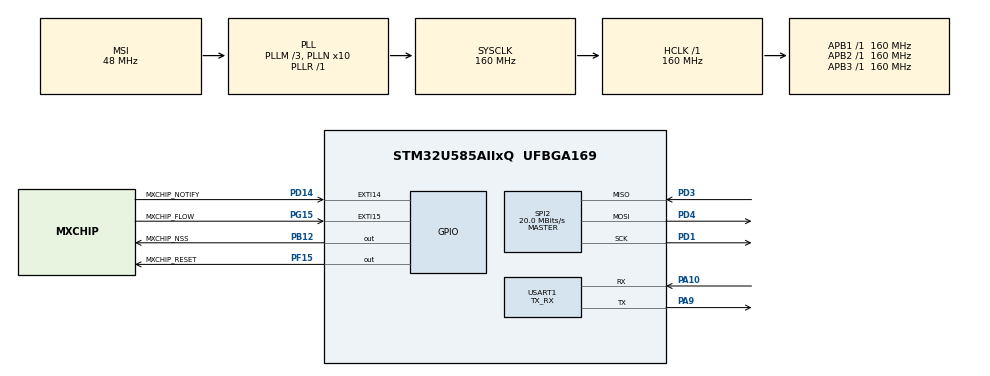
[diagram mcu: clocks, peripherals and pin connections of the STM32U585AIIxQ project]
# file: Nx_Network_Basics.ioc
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CORTEX_M33_NS.userName=CORTEX_M33
GPDMA1.DESTINC_GPDMACH4=DMA_DINC_INCREMENTED
GPDMA1.DIRECTION_GPDMACH5=DMA_MEMORY_TO_PERIPH
GPDMA1.IPHANDLE_GPDMACH4-SIMPLEREQUEST_GPDMACH4=__NULL
GPDMA1.IPHANDLE_GPDMACH5-SIMPLEREQUEST_GPDMACH5=__NULL
GPDMA1.PRIORITY_GPDMACH4=DMA_LOW_PRIORITY_HIGH_WEIGHT
GPDMA1.PRIORITY_GPDMACH5=DMA_LOW_PRIORITY_HIGH_WEIGHT
GPDMA1.REQUEST_GPDMACH4=GPDMA1_REQUEST_SPI2_RX
GPDMA1.REQUEST_GPDMACH5=GPDMA1_REQUEST_SPI2_TX
GPDMA1.SRCINC_GPDMACH5=DMA_SINC_INCREMENTED
GPDMA1.TRANSFERALLOCATEDPORTDEST_GPDMACH4=DMA_DEST_ALLOCATED_PORT1
GPDMA1.TRANSFERALLOCATEDPORTDEST_GPDMACH5=DMA_DEST_ALLOCATED_PORT1
GPDMA1.TRANSFERALLOCATEDPORTSRC_GPDMACH4=DMA_SRC_ALLOCATED_PORT0
GPDMA1.TRANSFERALLOCATEDPORTSRC_GPDMACH5=DMA_SRC_ALLOCATED_PORT0
Mcu.Family=STM32U5
Mcu.Name=STM32U585AIIxQ
Mcu.Package=UFBGA169
NETXDUO.NX_APP_MEM_POOL_SIZE=(160 * 1024)
NETXDUO.NX_DHCP_THREAD_PRIORITY=(NETX_IP_THREAD_PRIORITY + 1)
NETXDUO.NX_DISABLE_LOOPBACK_INTERFACE=true
NETXDUO.NX_DNS_CACHE_ENABLE=false
NETXDUO.NX_DNS_IP_GATEWAY_AND_DNS_SERVER=true
NETXDUO.NX_DRIVER_DEFERRED_PROCESSING=true
NETXDUO.NX_ENABLE_EXTENDED_NOTIFY_SUPPORT=true
NETXDUO.NX_ENABLE_IP_RAW_PACKET_FILTER=true
NETXDUO.NX_IP_FAST_TIMER_RATE=10
NETXDUO.NX_IP_PERIODIC_RATE=1000
NETXDUO.NX_PHYSICAL_HEADER=44
NETXDUO.NX_TCP_FAST_TIMER_RATE=10
NETXDUO.NX_TCP_IMMEDIATE_ACK=true
NVIC.EXTI14_IRQn=true\:2\:0\:true\:false\:true\:false\:true\:true\:true
NVIC.EXTI15_IRQn=true\:2\:0\:true\:false\:true\:false\:true\:true\:true
NVIC.GPDMA1_Channel4_IRQn=true\:2\:0\:true\:false\:true\:true\:false\:true\:true
NVIC.GPDMA1_Channel5_IRQn=true\:2\:0\:true\:false\:true\:true\:false\:true\:true
NVIC.PriorityGroup=NVIC_PRIORITYGROUP_4
NVIC.SPI2_IRQn=true\:2\:0\:true\:false\:true\:false\:true\:true\:true
NVIC.TIM6_IRQn=true\:0\:0\:true\:false\:true\:false\:false\:true\:true
NVIC.TimeBase=TIM6_IRQn
NVIC.TimeBaseIP=TIM6
NVIC.USART1_IRQn=true\:3\:0\:true\:false\:true\:false\:true\:true\:true
PA10.Mode=Asynchronous
PA10.Signal=USART1_RX
PA13\ (JTMS/SWDIO).Mode=Trace_Asynchronous_SW
PA13\ (JTMS/SWDIO).Signal=DEBUG_JTMS-SWDIO
PA14\ (JTCK/SWCLK).Mode=Trace_Asynchronous_SW
PA14\ (JTCK/SWCLK).Signal=DEBUG_JTCK-SWCLK
PA9.Mode=Asynchronous
PA9.Signal=USART1_TX
PB12.GPIO_Label=MXCHIP_NSS
PB12.GPIO_Speed=GPIO_SPEED_FREQ_HIGH
PB12.PinState=GPIO_PIN_SET
PB12.Signal=GPIO_Output
PB3\ (JTDO/TRACESWO).Mode=Trace_Asynchronous_SW
PB3\ (JTDO/TRACESWO).Signal=DEBUG_JTDO-SWO
PD1.GPIO_Speed=GPIO_SPEED_FREQ_HIGH
PD1.Mode=Full_Duplex_Master
PD1.Signal=SPI2_SCK
PD14.GPIO_Label=MXCHIP_NOTIFY
PD14.Signal=GPXTI14
PD3.GPIO_Speed=GPIO_SPEED_FREQ_HIGH
PD3.Mode=Full_Duplex_Master
PD3.Signal=SPI2_MISO
PD4.GPIO_Speed=GPIO_SPEED_FREQ_HIGH
PD4.Mode=Full_Duplex_Master
PD4.Signal=SPI2_MOSI
PF15.GPIO_Label=MXCHIP_RESET
PF15.Signal=GPIO_Output
PG15.GPIO_Label=MXCHIP_FLOW
PG15.GPIO_ModeDefaultEXTI=GPIO_MODE_IT_RISING
PG15.Signal=GPXTI15
PWR.PowerMode=PWR_SMPS_SUPPLY
ProjectManager.HeapSize=0x2000
ProjectManager.StackSize=0x2000
ProjectManager.TargetToolchain=EWARM V8.50
RCC.ADCFreq_Value=16000000
RCC.AHBFreq_Value=160000000
RCC.APB1Freq_Value=160000000
RCC.APB1TimFreq_Value=160000000
RCC.APB2Freq_Value=160000000
RCC.APB2TimFreq_Value=160000000
RCC.APB3Freq_Value=160000000
RCC.CortexFreq_Value=160000000
RCC.DACCLockSelectionVirtual=RCC_DAC1CLKSOURCE_LSI
RCC.EPOD_VALUE=48000000
RCC.HCLKFreq_Value=160000000
RCC.HSE_VALUE=16000000
RCC.HSI48_VALUE=48000000
RCC.HSI_VALUE=16000000
RCC.LSE_VALUE=32768
RCC.LSIDIV_VALUE=32000
RCC.MSIClockRange=RCC_MSIRANGE_0
RCC.MSI_VALUE=48000000
RCC.PLL1R=1
RCC.PLLFRACN=0
RCC.PLLM=3
RCC.PLLN=10
RCC.SPI2CLockSelection=RCC_SPI2CLKSOURCE_PCLK1
RCC.SYSCLKFreq_VALUE=160000000
RCC.SYSCLKSource=RCC_SYSCLKSOURCE_PLLCLK
RCC.USBFreq_Value=48000000
RCC.VCOOutputFreq_Value=160000000
SPI2.BaudRatePrescaler=SPI_BAUDRATEPRESCALER_8
SPI2.CRCCalculation=SPI_CRCCALCULATION_DISABLE
SPI2.CalculateBaudRate=20.0 MBits/s
SPI2.DataSize=SPI_DATASIZE_8BIT
SPI2.Direction=SPI_DIRECTION_2LINES
SPI2.Mode=SPI_MODE_MASTER
SPI2.NSSPMode=SPI_NSS_PULSE_DISABLE
SPI2.VirtualType=VM_MASTER
THREADX.TX_APP_MEM_POOL_SIZE=(2 * 1024)
THREADX.TX_MINIMUM_STACK=400
THREADX.TX_TIMER_TICKS_PER_SECOND=1000
USART1.Mode=MODE_TX_RX
USART1.VirtualMode-Asynchronous=VM_ASYNC
VP_GPDMA1_VS_GPDMACH4.Mode=SIMPLEREQUEST_GPDMACH4
VP_GPDMA1_VS_GPDMACH5.Mode=SIMPLEREQUEST_GPDMACH5
VP_ICACHE_VS_ICACHE.Mode=DirectMappedCache
VP_LPBAMQUEUE_VS_QUEUE.Mode=QUEUEMODE
VP_LPBAM_VS_SIG1.Mode=SmartRun
VP_LPBAM_VS_SIG4.Mode=LPDMA1
VP_NETXDUO_VS_AddonsOoDHCP.Mode=Addons_DHCP_Client
VP_NETXDUO_VS_AddonsOoDNS.Mode=Addons_DNS
VP_NETXDUO_VS_NXOoCore.Mode=NX_Core
VP_PWR_VS_DBSignals.Mode=DisableDeadBatterySignals
VP_PWR_VS_LPOM.Mode=PowerOptimisation
VP_PWR_VS_SECSignals.Mode=Security/Privilege
VP_RNG_VS_RNG.Mode=RNG_Activate
VP_SYS_VS_tim6.Mode=TIM6
VP_THREADX_VS_RTOSJjThreadXJjCoreJjDefault.Mode=Core_Default
board=B-U585I-IOT02A

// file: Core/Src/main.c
/* USER CODE BEGIN Header */
/**
  ******************************************************************************
  * @file           : main.c
  * @brief          : Main program body
  ******************************************************************************
  * @attention
  *
  * Copyright (c) 2022 STMicroelectronics.
  * All rights reserved.
  *
  * This software is licensed under terms that can be found in the LICENSE file
  * in the root directory of this software component.
  * If no LICENSE file comes with this software, it is provided AS-IS.
  *
  ******************************************************************************
  */
/* USER CODE END Header */
#include "app_threadx.h"
#include "main.h"

/* USER CODE BEGIN Includes */
#include <stdio.h>
#include <stdlib.h>
#include <string.h>
#include <stdint.h>
#include <inttypes.h>
#if defined(__ICCARM__)
#include <LowLevelIOInterface.h>
#endif /* (__ICCARM__) */

#include "nx_driver_emw3080.h"

#include "io_pattern/mx_wifi_io.h"
/* USER CODE END Includes */

RNG_HandleTypeDef hrng;

SPI_HandleTypeDef hspi2;
DMA_HandleTypeDef handle_GPDMA1_Channel5;
DMA_HandleTypeDef handle_GPDMA1_Channel4;

UART_HandleTypeDef huart1;

/* USER CODE BEGIN PV */
#define CONSOLE_UART        huart1

#define UART_BUFFER_SIZE    (uint32_t)60
static char uart_buffer[UART_BUFFER_SIZE];
static __IO uint32_t uart_write_idx = 0;
/* USER CODE END PV */

void SystemClock_Config(void);
static void SystemPower_Config(void);
static void MX_GPIO_Init(void);
static void MX_GPDMA1_Init(void);
static void MX_ICACHE_Init(void);
static void MX_USART1_UART_Init(void);
static void MX_SPI2_Init(void);
static void MX_RNG_Init(void);

int main(void)
{

  /* MCU Configuration--------------------------------------------------------*/

  /* Reset of all peripherals, Initializes the Flash interface and the Systick. */
  HAL_Init();

  /* Configure the System Power */
  SystemPower_Config();

  /* Configure the system clock */
  SystemClock_Config();

  /* Initialize all configured peripherals */
  MX_GPIO_Init();
  MX_GPDMA1_Init();
  MX_ICACHE_Init();
  MX_USART1_UART_Init();
  MX_SPI2_Init();
  MX_RNG_Init();
  /* USER CODE BEGIN 2 */
  {
    {
      char welcome[] = "Welcome\n";
      uint16_t welcome_size = (uint16_t)strlen(welcome);
      HAL_UART_Transmit(&CONSOLE_UART, (uint8_t*)welcome, welcome_size, 0xFFFF);
    }
  }

  /* Force no buffer for the printf() usage. */
  setbuf(stdout, NULL);

  {
    char the_compiler[100] = {0};

#if defined(__GNUC__)
    strcat(the_compiler, " __GNUC__");
#endif /* __GNUC__ */
#if defined(__clang__)
    strcat(the_compiler, " __clang__");
#endif /* __clang__ */
#if defined(__ICCARM__)
    strcat(the_compiler, " __ICCARM__");
#endif /* __ICCARM__ */
#if defined(__ARMCC_VERSION)
    strcat(the_compiler, " __ARMCC_VERSION ");
    sprintf(&the_compiler[strlen(the_compiler)], "(%d)", __ARMCC_VERSION);
#endif /* __ARMCC_VERSION */
#if defined(__MICROLIB)
    strcat(the_compiler, " __MICROLIB");
#endif /* __MICROLIB */

    {
      const uint32_t start_counting = HAL_GetTick();
      static __IO uint32_t count = 0;
      for (__IO uint32_t i = 0; i < 1600000; i++)
      {
        count++;
      }
      {
        const uint32_t end_counting = HAL_GetTick();
        printf("\n[%" PRIu32 "] main(): %s %s  (%s)   : %" PRIu32 " ms for %" PRIu32 " loops\n\n",
               end_counting, __DATE__, __TIME__, the_compiler, end_counting - start_counting, count);
      }
    }
  }

  {
    int random_number = hardware_rand();

    /* Initialize the seed of the stdlib rand() software implementation. */
    srand((unsigned)random_number);
    printf("rand() seeded by %" PRId32 " returned %" PRId32 "\n\n", (int32_t)random_number, (int32_t)rand());
  }

  /* Start getchar under interrupt. */
  HAL_UART_Receive_IT(&CONSOLE_UART, (uint8_t *)&uart_buffer[0], 1);

  /* Force no buffer for the getc() usage. */
  setbuf(stdin, NULL);
  /* USER CODE END 2 */

  MX_ThreadX_Init();

  /* We should never get here as control is now taken by the scheduler */

  /* Infinite loop */
  while (1)
  {

  }
}

void SystemClock_Config(void)
{
  RCC_OscInitTypeDef RCC_OscInitStruct = {0};
  RCC_ClkInitTypeDef RCC_ClkInitStruct = {0};

  /** Configure the main internal regulator output voltage
  */
  if (HAL_PWREx_ControlVoltageScaling(PWR_REGULATOR_VOLTAGE_SCALE1) != HAL_OK)
  {
    Error_Handler();
  }

  /** Initializes the CPU, AHB and APB buses clocks
  */
  RCC_OscInitStruct.OscillatorType = RCC_OSCILLATORTYPE_HSI48|RCC_OSCILLATORTYPE_MSI;
  RCC_OscInitStruct.HSI48State = RCC_HSI48_ON;
  RCC_OscInitStruct.MSIState = RCC_MSI_ON;
  RCC_OscInitStruct.MSICalibrationValue = RCC_MSICALIBRATION_DEFAULT;
  RCC_OscInitStruct.MSIClockRange = RCC_MSIRANGE_0;
  RCC_OscInitStruct.PLL.PLLState = RCC_PLL_ON;
  RCC_OscInitStruct.PLL.PLLSource = RCC_PLLSOURCE_MSI;
  RCC_OscInitStruct.PLL.PLLMBOOST = RCC_PLLMBOOST_DIV4;
  RCC_OscInitStruct.PLL.PLLM = 3;
  RCC_OscInitStruct.PLL.PLLN = 10;
  RCC_OscInitStruct.PLL.PLLP = 2;
  RCC_OscInitStruct.PLL.PLLQ = 2;
  RCC_OscInitStruct.PLL.PLLR = 1;
  RCC_OscInitStruct.PLL.PLLRGE = RCC_PLLVCIRANGE_1;
  RCC_OscInitStruct.PLL.PLLFRACN = 0;
  if (HAL_RCC_OscConfig(&RCC_OscInitStruct) != HAL_OK)
  {
    Error_Handler();
  }

  /** Initializes the CPU, AHB and APB buses clocks
  */
  RCC_ClkInitStruct.ClockType = RCC_CLOCKTYPE_HCLK|RCC_CLOCKTYPE_SYSCLK
                              |RCC_CLOCKTYPE_PCLK1|RCC_CLOCKTYPE_PCLK2
                              |RCC_CLOCKTYPE_PCLK3;
  RCC_ClkInitStruct.SYSCLKSource = RCC_SYSCLKSOURCE_PLLCLK;
  RCC_ClkInitStruct.AHBCLKDivider = RCC_SYSCLK_DIV1;
  RCC_ClkInitStruct.APB1CLKDivider = RCC_HCLK_DIV1;
  RCC_ClkInitStruct.APB2CLKDivider = RCC_HCLK_DIV1;
  RCC_ClkInitStruct.APB3CLKDivider = RCC_HCLK_DIV1;

  if (HAL_RCC_ClockConfig(&RCC_ClkInitStruct, FLASH_LATENCY_4) != HAL_OK)
  {
    Error_Handler();
  }
}

/**
  * @brief Power Configuration
  * @retval None
  */
static void SystemPower_Config(void)
{
  HAL_PWREx_EnableVddIO2();

  /*
   * Disable the internal Pull-Up in Dead Battery pins of UCPD peripheral
   */
  HAL_PWREx_DisableUCPDDeadBattery();

  /*
   * Switch to SMPS regulator instead of LDO
   */
  if (HAL_PWREx_ConfigSupply(PWR_SMPS_SUPPLY) != HAL_OK)
  {
    Error_Handler();
  }
}

static void MX_GPDMA1_Init(void)
{

  /* Peripheral clock enable */
  __HAL_RCC_GPDMA1_CLK_ENABLE();

  /* GPDMA1 interrupt Init */
    HAL_NVIC_SetPriority(GPDMA1_Channel4_IRQn, 2, 0);
    HAL_NVIC_EnableIRQ(GPDMA1_Channel4_IRQn);
    HAL_NVIC_SetPriority(GPDMA1_Channel5_IRQn, 2, 0);
    HAL_NVIC_EnableIRQ(GPDMA1_Channel5_IRQn);

}

static void MX_ICACHE_Init(void)
{

  /** Enable instruction cache in 1-way (direct mapped cache)
  */
  if (HAL_ICACHE_ConfigAssociativityMode(ICACHE_1WAY) != HAL_OK)
  {
    Error_Handler();
  }
  if (HAL_ICACHE_Enable() != HAL_OK)
  {
    Error_Handler();
  }

}

static void MX_RNG_Init(void)
{

  hrng.Instance = RNG;
  hrng.Init.ClockErrorDetection = RNG_CED_ENABLE;
  if (HAL_RNG_Init(&hrng) != HAL_OK)
  {
    Error_Handler();
  }

}

static void MX_SPI2_Init(void)
{

  SPI_AutonomousModeConfTypeDef HAL_SPI_AutonomousMode_Cfg_Struct = {0};

  /* SPI2 parameter configuration*/
  hspi2.Instance = SPI2;
  hspi2.Init.Mode = SPI_MODE_MASTER;
  hspi2.Init.Direction = SPI_DIRECTION_2LINES;
  hspi2.Init.DataSize = SPI_DATASIZE_8BIT;
  hspi2.Init.CLKPolarity = SPI_POLARITY_LOW;
  hspi2.Init.CLKPhase = SPI_PHASE_1EDGE;
  hspi2.Init.NSS = SPI_NSS_SOFT;
  hspi2.Init.BaudRatePrescaler = SPI_BAUDRATEPRESCALER_8;
  hspi2.Init.FirstBit = SPI_FIRSTBIT_MSB;
  hspi2.Init.TIMode = SPI_TIMODE_DISABLE;
  hspi2.Init.CRCCalculation = SPI_CRCCALCULATION_DISABLE;
  hspi2.Init.CRCPolynomial = 0x7;
  hspi2.Init.NSSPMode = SPI_NSS_PULSE_DISABLE;
  hspi2.Init.NSSPolarity = SPI_NSS_POLARITY_LOW;
  hspi2.Init.FifoThreshold = SPI_FIFO_THRESHOLD_01DATA;
  hspi2.Init.MasterSSIdleness = SPI_MASTER_SS_IDLENESS_00CYCLE;
  hspi2.Init.MasterInterDataIdleness = SPI_MASTER_INTERDATA_IDLENESS_00CYCLE;
  hspi2.Init.MasterReceiverAutoSusp = SPI_MASTER_RX_AUTOSUSP_DISABLE;
  hspi2.Init.MasterKeepIOState = SPI_MASTER_KEEP_IO_STATE_DISABLE;
  hspi2.Init.IOSwap = SPI_IO_SWAP_DISABLE;
  hspi2.Init.ReadyMasterManagement = SPI_RDY_MASTER_MANAGEMENT_INTERNALLY;
  hspi2.Init.ReadyPolarity = SPI_RDY_POLARITY_HIGH;
  if (HAL_SPI_Init(&hspi2) != HAL_OK)
  {
    Error_Handler();
  }
  HAL_SPI_AutonomousMode_Cfg_Struct.TriggerState = SPI_AUTO_MODE_DISABLE;
  HAL_SPI_AutonomousMode_Cfg_Struct.TriggerSelection = SPI_GRP1_GPDMA_CH0_TCF_TRG;
  HAL_SPI_AutonomousMode_Cfg_Struct.TriggerPolarity = SPI_TRIG_POLARITY_RISING;
  if (HAL_SPIEx_SetConfigAutonomousMode(&hspi2, &HAL_SPI_AutonomousMode_Cfg_Struct) != HAL_OK)
  {
    Error_Handler();
  }

}

static void MX_USART1_UART_Init(void)
{

  huart1.Instance = USART1;
  huart1.Init.BaudRate = 115200;
  huart1.Init.WordLength = UART_WORDLENGTH_8B;
  huart1.Init.StopBits = UART_STOPBITS_1;
  huart1.Init.Parity = UART_PARITY_NONE;
  huart1.Init.Mode = UART_MODE_TX_RX;
  huart1.Init.HwFlowCtl = UART_HWCONTROL_NONE;
  huart1.Init.OverSampling = UART_OVERSAMPLING_16;
  huart1.Init.OneBitSampling = UART_ONE_BIT_SAMPLE_DISABLE;
  huart1.Init.ClockPrescaler = UART_PRESCALER_DIV1;
  huart1.AdvancedInit.AdvFeatureInit = UART_ADVFEATURE_NO_INIT;
  if (HAL_UART_Init(&huart1) != HAL_OK)
  {
    Error_Handler();
  }
  if (HAL_UARTEx_SetTxFifoThreshold(&huart1, UART_TXFIFO_THRESHOLD_1_8) != HAL_OK)
  {
    Error_Handler();
  }
  if (HAL_UARTEx_SetRxFifoThreshold(&huart1, UART_RXFIFO_THRESHOLD_1_8) != HAL_OK)
  {
    Error_Handler();
  }
  if (HAL_UARTEx_DisableFifoMode(&huart1) != HAL_OK)
  {
    Error_Handler();
  }

}

static void MX_GPIO_Init(void)
{
  GPIO_InitTypeDef GPIO_InitStruct = {0};

  /* GPIO Ports Clock Enable */
  __HAL_RCC_GPIOG_CLK_ENABLE();
  __HAL_RCC_GPIOD_CLK_ENABLE();
  __HAL_RCC_GPIOA_CLK_ENABLE();
  __HAL_RCC_GPIOB_CLK_ENABLE();
  __HAL_RCC_GPIOF_CLK_ENABLE();

  /*Configure GPIO pin Output Level */
  HAL_GPIO_WritePin(MXCHIP_NSS_GPIO_Port, MXCHIP_NSS_Pin, GPIO_PIN_SET);

  /*Configure GPIO pin Output Level */
  HAL_GPIO_WritePin(MXCHIP_RESET_GPIO_Port, MXCHIP_RESET_Pin, GPIO_PIN_RESET);

  /*Configure GPIO pin : MXCHIP_FLOW_Pin */
  GPIO_InitStruct.Pin = MXCHIP_FLOW_Pin;
  GPIO_InitStruct.Mode = GPIO_MODE_IT_RISING;
  GPIO_InitStruct.Pull = GPIO_NOPULL;
  HAL_GPIO_Init(MXCHIP_FLOW_GPIO_Port, &GPIO_InitStruct);

  /*Configure GPIO pin : MXCHIP_NOTIFY_Pin */
  GPIO_InitStruct.Pin = MXCHIP_NOTIFY_Pin;
  GPIO_InitStruct.Mode = GPIO_MODE_IT_RISING;
  GPIO_InitStruct.Pull = GPIO_NOPULL;
  HAL_GPIO_Init(MXCHIP_NOTIFY_GPIO_Port, &GPIO_InitStruct);

  /*Configure GPIO pin : MXCHIP_NSS_Pin */
  GPIO_InitStruct.Pin = MXCHIP_NSS_Pin;
  GPIO_InitStruct.Mode = GPIO_MODE_OUTPUT_PP;
  GPIO_InitStruct.Pull = GPIO_NOPULL;
  GPIO_InitStruct.Speed = GPIO_SPEED_FREQ_HIGH;
  HAL_GPIO_Init(MXCHIP_NSS_GPIO_Port, &GPIO_InitStruct);

  /*Configure GPIO pin : MXCHIP_RESET_Pin */
  GPIO_InitStruct.Pin = MXCHIP_RESET_Pin;
  GPIO_InitStruct.Mode = GPIO_MODE_OUTPUT_PP;
  GPIO_InitStruct.Pull = GPIO_NOPULL;
  GPIO_InitStruct.Speed = GPIO_SPEED_FREQ_LOW;
  HAL_GPIO_Init(MXCHIP_RESET_GPIO_Port, &GPIO_InitStruct);

  /* EXTI interrupt init*/
  HAL_NVIC_SetPriority(EXTI14_IRQn, 2, 0);
  HAL_NVIC_EnableIRQ(EXTI14_IRQn);

  HAL_NVIC_SetPriority(EXTI15_IRQn, 2, 0);
  HAL_NVIC_EnableIRQ(EXTI15_IRQn);

}

/* USER CODE BEGIN 4 */
#if (defined(__GNUC__) && !defined(__ARMCC_VERSION))
/**
  * With GCC,
  * small printf (option LD Linker->Libraries->Small printf set to 'Yes')
  * calls __io_putchar()
  */
#define PUTCHAR_PROTOTYPE int __io_putchar(int ch)

#elif defined(__ICCARM__)
int iar_fputc(int ch);
#define PUTCHAR_PROTOTYPE int iar_fputc(int ch)

#elif defined(__ARMCC_VERSION)
#ifdef __MICROLIB
#define PUTCHAR_PROTOTYPE int fputc(int ch, FILE *f)
#else
int stdout_putchar(int ch);
#define PUTCHAR_PROTOTYPE int stdout_putchar(int ch)
int stderr_putchar(int ch) { return stdout_putchar(ch); }
void ttywrch(int ch) { stdout_putchar(ch); }
#endif /* __MICROLIB */
#endif /* __GNUC__ */

/**
  * @brief  Retargets the C library printf function to the USART.
  * @param  None
  * @retval None
  */
PUTCHAR_PROTOTYPE
{
  /* Write a character to the USART1. */
  HAL_UART_Transmit(&CONSOLE_UART, (uint8_t *)&ch, 1, 0xFFFF);

  return ch;
}

#if defined(__ICCARM__)
size_t __write(int file, unsigned char const *ptr, size_t len)
{
  size_t idx;
  unsigned char const *pdata = ptr;

  for (idx = 0; idx < len; idx++)
  {
    iar_fputc((int)*pdata);
    pdata++;
  }
  return len;
}
#endif /* __ICCARM__ */

#if (defined(__GNUC__) && !defined(__ARMCC_VERSION))
#define GETCHAR_PROTOTYPE int __io_getchar(void)

#elif defined(__ICCARM__)
#define GETCHAR_PROTOTYPE int fgetc(FILE *f)

#elif defined(__ARMCC_VERSION)
#ifdef __MICROLIB
#define GETCHAR_PROTOTYPE int fgetc(FILE *f)
#else
int stdin_getchar(void);
#define GETCHAR_PROTOTYPE int stdin_getchar(void)
#endif /* __MICROLIB */
#endif /* __GNUC__ */

/**
  * @brief  Retargets the C library scanf function to the USART.
  * @param  None
  * @retval None
  */
GETCHAR_PROTOTYPE
{
  static uint32_t uart_read_idx = 0;
  char ch;

  while (uart_write_idx == uart_read_idx);

  ch = uart_buffer[uart_read_idx++];
  if (uart_read_idx == UART_BUFFER_SIZE)
  {
    uart_read_idx = 0;
  }
  return ch;
}

/**
  * @brief Rx Transfer completed callback.
  * @param  hspi: pointer to a SPI_HandleTypeDef structure that contains
  *               the configuration information for the SPI module.
  * @retval None
  */
void HAL_SPI_RxCpltCallback(SPI_HandleTypeDef *hspi)
{
  if (hspi == &MXCHIP_SPI)
  {
    HAL_SPI_TransferCallback(hspi);
  }
}

/**
  * @brief Tx Transfer completed callback.
  * @param  hspi: pointer to a SPI_HandleTypeDef structure that contains
  *               the configuration information for the SPI module.
  * @retval None
  */
void HAL_SPI_TxCpltCallback(SPI_HandleTypeDef *hspi)
{
  if (hspi == &MXCHIP_SPI)
  {
    HAL_SPI_TransferCallback(hspi);
  }
}

/**
  * @brief Tx and Rx Transfer completed callback.
  * @param  hspi: pointer to a SPI_HandleTypeDef structure that contains
  *               the configuration information for the SPI module.
  * @retval None
  */
void HAL_SPI_TxRxCpltCallback(SPI_HandleTypeDef *hspi)
{
  if (hspi == &MXCHIP_SPI)
  {
    HAL_SPI_TransferCallback(hspi);
  }
}

/**
  * @brief  EXTI line rising detection callback.
  * @param  GPIO_Pin: Specifies the port pin connected to corresponding EXTI line.
  * @retval None
  */
void HAL_GPIO_EXTI_Rising_Callback(uint16_t GPIO_Pin)
{
  switch (GPIO_Pin)
  {
    case (MXCHIP_FLOW_Pin):
      mxchip_WIFI_ISR(MXCHIP_FLOW_Pin);
      nx_driver_emw3080_interrupt();
      break;

    case (MXCHIP_NOTIFY_Pin):
      mxchip_WIFI_ISR(MXCHIP_NOTIFY_Pin);
      nx_driver_emw3080_interrupt();
      break;
    default:
      break;
  }
}

void HAL_UART_RxCpltCallback(UART_HandleTypeDef *huart)
{
  if (huart == &CONSOLE_UART)
  {
    uart_write_idx++;
    if (uart_write_idx == UART_BUFFER_SIZE)
    {
      uart_write_idx = 0;
    }
    HAL_UART_Receive_IT(huart, (uint8_t *)&uart_buffer[uart_write_idx], 1);
  }
}

/* Alternative to HAL_RNG_GenerateRandomNumber(). */
/* MX_RNG_Init() MUST be called before usage of this function. */
int hardware_rand(void)
{
  /* Wait for data ready. */
  while ((hrng.Instance->SR & RNG_SR_DRDY) == 0);

  /* Return the random number. */
  return ((int)hrng.Instance->DR);
}
/* USER CODE END 4 */

void HAL_TIM_PeriodElapsedCallback(TIM_HandleTypeDef *htim)
{
  if (htim->Instance == TIM6)
  {
    HAL_IncTick();
  }
}

void Error_Handler(void)
{
  /* USER CODE BEGIN Error_Handler_Debug */
  /* User may add here some code to deal with this error */
  printf("\n\nError_Handler()>\n");

  __disable_irq();
  while (1)
  {
  }
  /* USER CODE END Error_Handler_Debug */
}

#ifdef  USE_FULL_ASSERT
/**
  * @brief  Reports the name of the source file and the source line number
  *         where the assert_param error has occurred.
  * @param  file: pointer to the source file name
  * @param  line: assert_param error line source number
  * @retval None
  */
void assert_failed(uint8_t *file, uint32_t line)
{
  /* USER CODE BEGIN 6 */
  printf("Wrong parameters value: file %s on line %" PRIu32 "\n", file, line);

  /* Infinite loop */
  while (1)
  {
  }
  /* USER CODE END 6 */
}
#endif /* USE_FULL_ASSERT */
